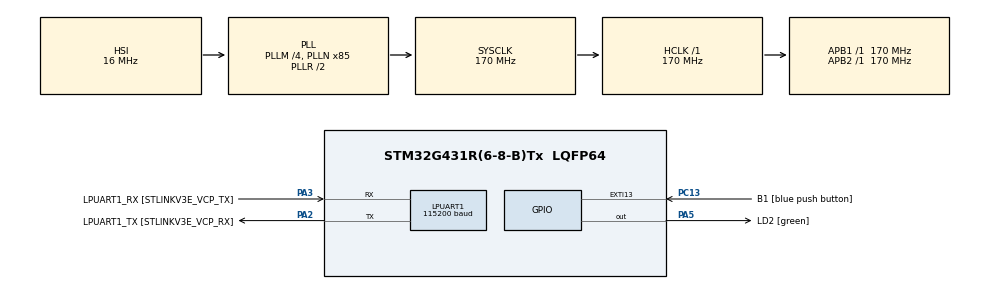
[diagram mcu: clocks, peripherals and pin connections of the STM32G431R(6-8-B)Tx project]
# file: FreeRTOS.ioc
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FREERTOS.Tasks01=defaultTask,0,128,StartDefaultTask,Default,NULL,Dynamic,NULL,NULL
LPUART1.BaudRate=115200
LPUART1.WordLength=UART_WORDLENGTH_8B
Mcu.Family=STM32G4
Mcu.Name=STM32G431R(6-8-B)Tx
Mcu.Package=LQFP64
NVIC.PriorityGroup=NVIC_PRIORITYGROUP_4
PA13.GPIO_Label=T_SWDIO
PA13.Mode=Serial_Wire
PA13.Signal=SYS_JTMS-SWDIO
PA14.GPIO_Label=T_SWCLK
PA14.Mode=Serial_Wire
PA14.Signal=SYS_JTCK-SWCLK
PA2.GPIO_Label=LPUART1_TX [STLINKV3E_VCP_RX]
PA2.Mode=Asynchronous
PA2.Signal=LPUART1_TX
PA3.GPIO_Label=LPUART1_RX [STLINKV3E_VCP_TX]
PA3.Mode=Asynchronous
PA3.Signal=LPUART1_RX
PA5.GPIO_Label=LD2 [green]
PA5.Signal=GPIO_Output
PB3.GPIO_Label=T_SWO
PB3.Signal=SYS_JTDO-SWO
PC13.GPIO_Label=B1 [blue push button]
PC13.Signal=GPXTI13
PC14-OSC32_IN.Mode=LSE-External-Oscillator
PC14-OSC32_IN.Signal=RCC_OSC32_IN
PC15-OSC32_OUT.Mode=LSE-External-Oscillator
PC15-OSC32_OUT.Signal=RCC_OSC32_OUT
PF0-OSC_IN.Mode=HSE-External-Oscillator
PF0-OSC_IN.Signal=RCC_OSC_IN
PF1-OSC_OUT.Mode=HSE-External-Oscillator
PF1-OSC_OUT.Signal=RCC_OSC_OUT
ProjectManager.HeapSize=0x200
ProjectManager.StackSize=0x400
ProjectManager.TargetToolchain=STM32CubeIDE
RCC.ADC12Freq_Value=170000000
RCC.AHBFreq_Value=170000000
RCC.APB1Freq_Value=170000000
RCC.APB1TimFreq_Value=170000000
RCC.APB2Freq_Value=170000000
RCC.APB2TimFreq_Value=170000000
RCC.CortexFreq_Value=170000000
RCC.EXTERNAL_CLOCK_VALUE=12288000
RCC.HCLKFreq_Value=170000000
RCC.HSE_VALUE=24000000
RCC.HSI48_VALUE=48000000
RCC.HSI_VALUE=16000000
RCC.PLLM=RCC_PLLM_DIV4
RCC.PLLN=85
RCC.RTCClockSelection=RCC_RTCCLKSOURCE_LSE
RCC.SYSCLKFreq_VALUE=170000000
RCC.SYSCLKSource=RCC_SYSCLKSOURCE_PLLCLK
RCC.USBFreq_Value=170000000
RCC.VCOOutputFreq_Value=340000000
VP_FREERTOS_VS_CMSIS_V1.Mode=CMSIS_V1
VP_SYS_VS_DBSignals.Mode=DisableDeadBatterySignals
board=NUCLEO-G431RB

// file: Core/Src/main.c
/* USER CODE BEGIN Header */
/**
 ******************************************************************************
 * @file           : main.c
 * @brief          : Main program body
 ******************************************************************************
 * @attention
 *
 * Copyright (c) 2023 STMicroelectronics.
 * All rights reserved.
 *
 * This software is licensed under terms that can be found in the LICENSE file
 * in the root directory of this software component.
 * If no LICENSE file comes with this software, it is provided AS-IS.
 *
 ******************************************************************************
 */
/* USER CODE END Header */
#include "main.h"
#include "cmsis_os.h"
#include "usart.h"
#include "gpio.h"
#include <stdio.h>

/* USER CODE BEGIN PD */
#define	STACK_SIZE 100

/* USER CODE END PD */

void SystemClock_Config(void);
void MX_FREERTOS_Init(void);

/* USER CODE BEGIN 0 */
int__io_putchar(int ch)
{
	HAL_UART_Transmit(&hlpuart1, (uint8_t*)&ch,1, HAL_MAX_DELAY);
	return ch;
}

void LedTask(void * pvParameters){
	for(;;)
	{
		printf("Noyau temps réel");
		HAL_GPIO_TogglePin(LD2_GPIO_Port, LD2_Pin);
		vTaskDelay(100);
		printf("Coucou");
	}
}

/* USER CODE END 0 */

int main(void)
{
	/* USER CODE BEGIN 1 */
	BaseType_t xLegToggle;
	TaskHandle_t xHandle = NULL;
	xLegToggle = xTaskCreate(
			LedTask,
			"LedTask",
			STACK_SIZE,
			NULL,
			tskIDLE_PRIORITY,
			&xHandle);

	/* USER CODE END 1 */

	/* MCU Configuration--------------------------------------------------------*/

	/* Reset of all peripherals, Initializes the Flash interface and the Systick. */
	HAL_Init();

	/* Configure the system clock */
	SystemClock_Config();

	/* Initialize all configured peripherals */
	MX_GPIO_Init();
	MX_LPUART1_UART_Init();

	/* Call init function for freertos objects (in freertos.c) */
	MX_FREERTOS_Init();
	/* Start scheduler */
	osKernelStart();

	/* We should never get here as control is now taken by the scheduler */
	/* Infinite loop */
	while (1)
	{

	}
}

void SystemClock_Config(void)
{
	RCC_OscInitTypeDef RCC_OscInitStruct = {0};
	RCC_ClkInitTypeDef RCC_ClkInitStruct = {0};

	/** Configure the main internal regulator output voltage
	 */
	HAL_PWREx_ControlVoltageScaling(PWR_REGULATOR_VOLTAGE_SCALE1_BOOST);

	/** Initializes the RCC Oscillators according to the specified parameters
	 * in the RCC_OscInitTypeDef structure.
	 */
	RCC_OscInitStruct.OscillatorType = RCC_OSCILLATORTYPE_HSI;
	RCC_OscInitStruct.HSIState = RCC_HSI_ON;
	RCC_OscInitStruct.HSICalibrationValue = RCC_HSICALIBRATION_DEFAULT;
	RCC_OscInitStruct.PLL.PLLState = RCC_PLL_ON;
	RCC_OscInitStruct.PLL.PLLSource = RCC_PLLSOURCE_HSI;
	RCC_OscInitStruct.PLL.PLLM = RCC_PLLM_DIV4;
	RCC_OscInitStruct.PLL.PLLN = 85;
	RCC_OscInitStruct.PLL.PLLP = RCC_PLLP_DIV2;
	RCC_OscInitStruct.PLL.PLLQ = RCC_PLLQ_DIV2;
	RCC_OscInitStruct.PLL.PLLR = RCC_PLLR_DIV2;
	if (HAL_RCC_OscConfig(&RCC_OscInitStruct) != HAL_OK)
	{
		Error_Handler();
	}

	/** Initializes the CPU, AHB and APB buses clocks
	 */
	RCC_ClkInitStruct.ClockType = RCC_CLOCKTYPE_HCLK|RCC_CLOCKTYPE_SYSCLK
			|RCC_CLOCKTYPE_PCLK1|RCC_CLOCKTYPE_PCLK2;
	RCC_ClkInitStruct.SYSCLKSource = RCC_SYSCLKSOURCE_PLLCLK;
	RCC_ClkInitStruct.AHBCLKDivider = RCC_SYSCLK_DIV1;
	RCC_ClkInitStruct.APB1CLKDivider = RCC_HCLK_DIV1;
	RCC_ClkInitStruct.APB2CLKDivider = RCC_HCLK_DIV1;

	if (HAL_RCC_ClockConfig(&RCC_ClkInitStruct, FLASH_LATENCY_4) != HAL_OK)
	{
		Error_Handler();
	}
}

void Error_Handler(void)
{
	__disable_irq();
	while (1)
	{
	}
}
